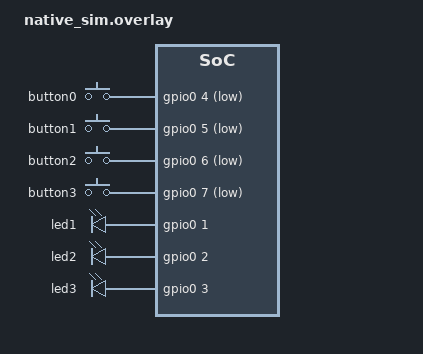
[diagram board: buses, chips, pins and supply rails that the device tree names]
/*
 * SPDX-License-Identifier: Apache-2.0
 *
 * native_sim ships only led0 out of the box. Add led1..led3 on the same
 * gpio_emul controller so srvController's LEDs build and run identically to
 * the real board, plus button0..3 (pins 4..7 on the same controller) for
 * myButtonListener.
 */
#include <zephyr/dt-bindings/gpio/gpio.h>
#include <zephyr/dt-bindings/input/input-event-codes.h>

&leds {
	led1: led_1 {
		gpios = <&gpio0 1 GPIO_ACTIVE_HIGH>;
	};

	led2: led_2 {
		gpios = <&gpio0 2 GPIO_ACTIVE_HIGH>;
	};

	led3: led_3 {
		gpios = <&gpio0 3 GPIO_ACTIVE_HIGH>;
	};
};

/ {
	aliases {
		led1 = &led1;
		led2 = &led2;
		led3 = &led3;
		sw0 = &button0;
		sw1 = &button1;
		sw2 = &button2;
		sw3 = &button3;
	};

	buttons {
		compatible = "gpio-keys";

		button0: button_0 {
			gpios = <&gpio0 4 (GPIO_PULL_UP | GPIO_ACTIVE_LOW)>;
			zephyr,code = <INPUT_KEY_0>;
		};

		button1: button_1 {
			gpios = <&gpio0 5 (GPIO_PULL_UP | GPIO_ACTIVE_LOW)>;
			zephyr,code = <INPUT_KEY_1>;
		};

		button2: button_2 {
			gpios = <&gpio0 6 (GPIO_PULL_UP | GPIO_ACTIVE_LOW)>;
			zephyr,code = <INPUT_KEY_2>;
		};

		button3: button_3 {
			gpios = <&gpio0 7 (GPIO_PULL_UP | GPIO_ACTIVE_LOW)>;
			zephyr,code = <INPUT_KEY_3>;
		};
	};
};
